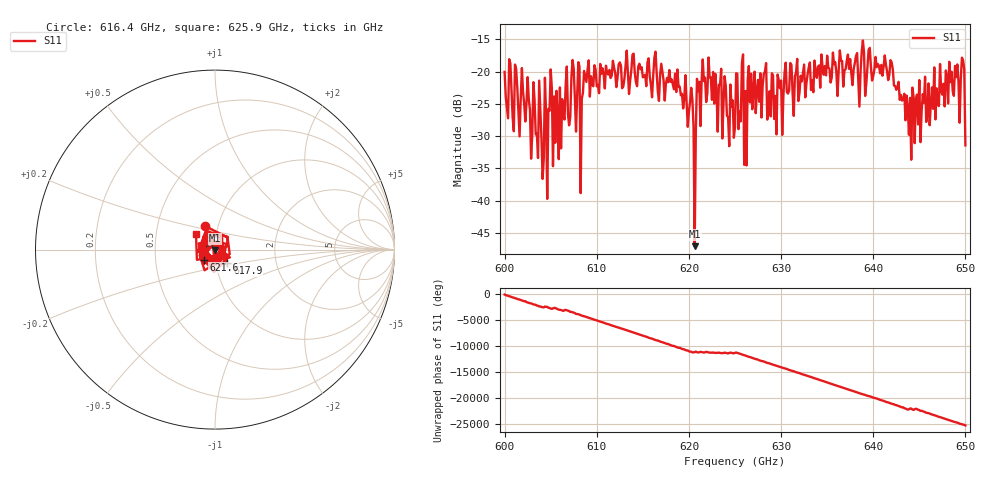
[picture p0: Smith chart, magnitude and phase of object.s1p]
!Created with skrf (http://scikit-rf.org).
# GHz S MA R 50.0
!freq magS11 angS11
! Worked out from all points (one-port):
!   401 points, 600 GHz to 650 GHz, reference 50 ohm
!   lowest |S11| = -47.1 dB at 620.6 GHz (marker M1), VSWR 1.01, Z = 50.1 - j0.434 ohm
!   |S11| at or under -10 dB: start of sweep to end of sweep
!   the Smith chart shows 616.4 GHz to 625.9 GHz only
!   S11 on the Smith chart (normalised r, x): 616.4 GHz: 0.87, +0.23; 617.9 GHz: 1.13, -0.18; 621.6 GHz: 0.88, -0.10; 625.9 GHz: 0.80, +0.14
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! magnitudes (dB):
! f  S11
! 600 GHz  -20.0
! 602.5 GHz  -20.8
! 604.4 GHz  -20.9
! 605.1 GHz  -22.5
! 606.2 GHz  -24.3
! 607.4 GHz  -18.2
! 608.5 GHz  -23.3
! 608.9 GHz  -21.6
! 612.5 GHz  -18.6
! 616.4 GHz  -16.9
! 617.9 GHz  -19.7
! 618.8 GHz  -19.7
! 620.2 GHz  -22.5
! 620.4 GHz  -24.3
! 620.6 GHz  -47.1
! 621.1 GHz  -21.6
! 621.6 GHz  -21.5
! 624.4 GHz  -31.6
! 625 GHz  -28.6
! 625.9 GHz  -17.3
! 626.2 GHz  -34.6
! 631.2 GHz  -23.3
! 637.5 GHz  -18.1
! 641.9 GHz  -18.2
! 643.8 GHz  -25.6
! 649 GHz  -20.9
! 649.6 GHz  -17.8
! 650 GHz  -31.4
